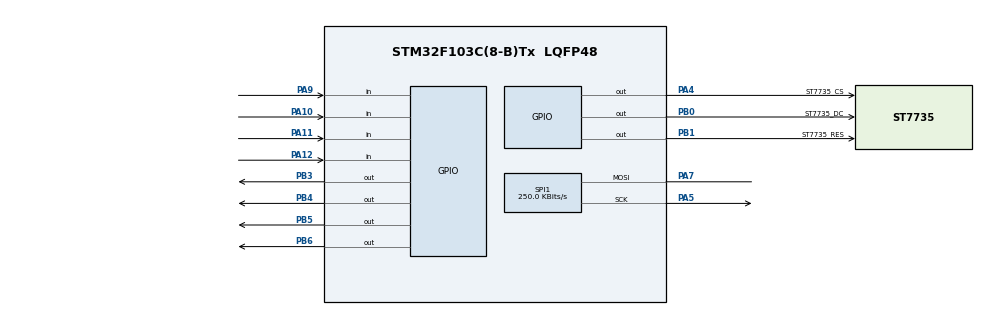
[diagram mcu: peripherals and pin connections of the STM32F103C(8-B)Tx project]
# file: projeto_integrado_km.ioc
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Mcu.Family=STM32F1
Mcu.Name=STM32F103C(8-B)Tx
Mcu.Package=LQFP48
NVIC.PriorityGroup=NVIC_PRIORITYGROUP_4
PA10.GPIO_PuPd=GPIO_PULLUP
PA10.Signal=GPIO_Input
PA11.GPIO_PuPd=GPIO_PULLUP
PA11.Signal=GPIO_Input
PA12.GPIO_PuPd=GPIO_PULLUP
PA12.Signal=GPIO_Input
PA13.Mode=Serial_Wire
PA13.Signal=SYS_JTMS-SWDIO
PA14.Mode=Serial_Wire
PA14.Signal=SYS_JTCK-SWCLK
PA4.GPIO_Label=ST7735_CS
PA4.Signal=GPIO_Output
PA5.Mode=Simplex_Bidirectional_Master
PA5.Signal=SPI1_SCK
PA7.Mode=Simplex_Bidirectional_Master
PA7.Signal=SPI1_MOSI
PA9.GPIO_PuPd=GPIO_PULLUP
PA9.Signal=GPIO_Input
PB0.GPIO_Label=ST7735_DC
PB0.Signal=GPIO_Output
PB1.GPIO_Label=ST7735_RES
PB1.Signal=GPIO_Output
PB3.Signal=GPIO_Output
PB4.Signal=GPIO_Output
PB5.Signal=GPIO_Output
PB6.Signal=GPIO_Output
ProjectManager.HeapSize=0x200
ProjectManager.StackSize=0x400
ProjectManager.TargetToolchain=STM32CubeIDE
RCC.APB1Freq_Value=8000000
RCC.APB2Freq_Value=8000000
SPI1.BaudRatePrescaler=SPI_BAUDRATEPRESCALER_32
SPI1.CalculateBaudRate=250.0 KBits/s
SPI1.Direction=SPI_DIRECTION_1LINE
SPI1.Mode=SPI_MODE_MASTER
SPI1.VirtualType=VM_MASTER
board=custom

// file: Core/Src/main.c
/* USER CODE BEGIN Header */
/**
 ******************************************************************************
 * @file           : main.c
 * @brief          : Main program body
 ******************************************************************************
 * @attention
 *
 * <h2><center>&copy; Copyright (c) 2024 STMicroelectronics.
 * All rights reserved.</center></h2>
 *
 * This software component is licensed by ST under BSD 3-Clause license,
 * the "License"; You may not use this file except in compliance with the
 * License. You may obtain a copy of the License at:
 *                        opensource.org/licenses/BSD-3-Clause
 *
 ******************************************************************************
 */
/* USER CODE END Header */
#include <stdint.h>
#include <stdio.h>
#include "main.h"

/* USER CODE BEGIN Includes */
#include "st7735\st7735.h"
/* USER CODE END Includes */

/* USER CODE BEGIN PD */
#define LIGA_LEDS HAL_GPIO_WritePin(GPIOB, GPIO_PIN_3 + GPIO_PIN_4 + GPIO_PIN_5 + GPIO_PIN_6, 1)
#define LE_BOTAO_CIMA HAL_GPIO_ReadPin(GPIOA, GPIO_PIN_12)
#define LE_BOTAO_DIREITO HAL_GPIO_ReadPin(GPIOA, GPIO_PIN_11)
#define LE_BOTAO_BAIXO HAL_GPIO_ReadPin(GPIOA, GPIO_PIN_10)
#define TAMANHO_TABULEIRO 3
#define JOGADOR1 'X'
#define JOGADOR2 'O'
#define VAZIO ' '
//#define INTERROGACAO '?'
/* USER CODE END PD */

SPI_HandleTypeDef hspi1;

/* USER CODE BEGIN PV */
static int tabuleiro[3][3];
int placar_jogador1 = 0;
int placar_jogador2 = 0;
int rodadas_jogador1 = 0;
int rodadas_jogador2 = 0;
static int cursor_coluna = 0;
static int cursor_linha = 0;
int jogador_atual = 1; // X É 1
static int posicao_atual = 0; // X É 1
//int x;
//int y;
//int n;
static int matriz_position = 0;

typedef struct {
	int x; // posicao display
	int y; // posicao display
	int jogador;
	int position; // posicao novetor
	char valor; // X, O, ?,...
} table_game_t;
table_game_t table_game[9];

void SystemClock_Config(void);
static void MX_GPIO_Init(void);
static void MX_SPI1_Init(void);

int main(void);
void mover(void);
void  Definir_local(int cursor_linha, int cursor_coluna, int jogadorAtual);
void inicializar_tabuleiro(void);
//void exibir_tabuleiro(void);
void efetuar_jogada(int cursor_linha, int cursor_coluna);
void alternar_jogador(void);
void jogar_partida();
void jogar_melhor_de_tres(void);
void ChamaHashtag(void);
int verificar_vencedor(void);
void desenha_pela_coordenada(int a, int b, int jogador);
void Error_Handler(void);
void desenha_matriz(void);
void tabuleirio_init (void);
int aloca_proxima_posicao(int);
int aloca_posicao_anterior(int);
int confirma_posicao(int posicao);
void exibe_vencedor(void);

int main(void)
{

	/* MCU Configuration--------------------------------------------------------*/

	/* Reset of all peripherals, Initializes the Flash interface and the Systick. */
	HAL_Init();

	/* Configure the system clock */
	SystemClock_Config();

	/* Initialize all configured peripherals */
	MX_GPIO_Init();
	MX_SPI1_Init();
	/* USER CODE BEGIN 2 */

	ST7735_Init();
	ST7735_FillScreen(BLACK);

	//////////////////////////////////////////////////////////// AQUI ////////////////////////////////////////////

	/*if ( HAL_GPIO_ReadPin(GPIOA, GPIO_PIN_9) ==0)
	{
		LIGA_LEDS;
	}*/

	/* USER CODE END 2 */

	/* Infinite loop */

	tabuleirio_init();

	/* USER CODE BEGIN WHILE */
	while (1)
	{
		// Preenchendo tabuleiro
		desenha_matriz();

		mover();

		//   jogar_partida();
		//  jogar_melhor_de_tres();

		/* USER CODE END WHILE */

	}
}

void SystemClock_Config(void)
{
	RCC_OscInitTypeDef RCC_OscInitStruct = {0};
	RCC_ClkInitTypeDef RCC_ClkInitStruct = {0};

	/** Initializes the RCC Oscillators according to the specified parameters
	 * in the RCC_OscInitTypeDef structure.
	 */
	RCC_OscInitStruct.OscillatorType = RCC_OSCILLATORTYPE_HSI;
	RCC_OscInitStruct.HSIState = RCC_HSI_ON;
	RCC_OscInitStruct.HSICalibrationValue = RCC_HSICALIBRATION_DEFAULT;
	RCC_OscInitStruct.PLL.PLLState = RCC_PLL_NONE;
	if (HAL_RCC_OscConfig(&RCC_OscInitStruct) != HAL_OK)
	{
		Error_Handler();
	}
	/** Initializes the CPU, AHB and APB buses clocks
	 */
	RCC_ClkInitStruct.ClockType = RCC_CLOCKTYPE_HCLK|RCC_CLOCKTYPE_SYSCLK
			|RCC_CLOCKTYPE_PCLK1|RCC_CLOCKTYPE_PCLK2;
	RCC_ClkInitStruct.SYSCLKSource = RCC_SYSCLKSOURCE_HSI;
	RCC_ClkInitStruct.AHBCLKDivider = RCC_SYSCLK_DIV1;
	RCC_ClkInitStruct.APB1CLKDivider = RCC_HCLK_DIV1;
	RCC_ClkInitStruct.APB2CLKDivider = RCC_HCLK_DIV1;

	if (HAL_RCC_ClockConfig(&RCC_ClkInitStruct, FLASH_LATENCY_0) != HAL_OK)
	{
		Error_Handler();
	}
}

static void MX_SPI1_Init(void)
{

	/* SPI1 parameter configuration*/
	hspi1.Instance = SPI1;
	hspi1.Init.Mode = SPI_MODE_MASTER;
	hspi1.Init.Direction = SPI_DIRECTION_1LINE;
	hspi1.Init.DataSize = SPI_DATASIZE_8BIT;
	hspi1.Init.CLKPolarity = SPI_POLARITY_LOW;
	hspi1.Init.CLKPhase = SPI_PHASE_1EDGE;
	hspi1.Init.NSS = SPI_NSS_SOFT;
	hspi1.Init.BaudRatePrescaler = SPI_BAUDRATEPRESCALER_32;
	hspi1.Init.FirstBit = SPI_FIRSTBIT_MSB;
	hspi1.Init.TIMode = SPI_TIMODE_DISABLE;
	hspi1.Init.CRCCalculation = SPI_CRCCALCULATION_DISABLE;
	hspi1.Init.CRCPolynomial = 10;
	if (HAL_SPI_Init(&hspi1) != HAL_OK)
	{
		Error_Handler();
	}

}

static void MX_GPIO_Init(void)
{
	GPIO_InitTypeDef GPIO_InitStruct = {0};

	/* GPIO Ports Clock Enable */
	__HAL_RCC_GPIOA_CLK_ENABLE();
	__HAL_RCC_GPIOB_CLK_ENABLE();

	/*Configure GPIO pin Output Level */
	HAL_GPIO_WritePin(ST7735_CS_GPIO_Port, ST7735_CS_Pin, GPIO_PIN_RESET);

	/*Configure GPIO pin Output Level */
	HAL_GPIO_WritePin(GPIOB, ST7735_DC_Pin|ST7735_RES_Pin|GPIO_PIN_3|GPIO_PIN_4
			|GPIO_PIN_5|GPIO_PIN_6, GPIO_PIN_RESET);

	/*Configure GPIO pin : ST7735_CS_Pin */
	GPIO_InitStruct.Pin = ST7735_CS_Pin;
	GPIO_InitStruct.Mode = GPIO_MODE_OUTPUT_PP;
	GPIO_InitStruct.Pull = GPIO_NOPULL;
	GPIO_InitStruct.Speed = GPIO_SPEED_FREQ_LOW;
	HAL_GPIO_Init(ST7735_CS_GPIO_Port, &GPIO_InitStruct);

	/*Configure GPIO pins : ST7735_DC_Pin ST7735_RES_Pin PB3 PB4
                           PB5 PB6 */
	GPIO_InitStruct.Pin = ST7735_DC_Pin|ST7735_RES_Pin|GPIO_PIN_3|GPIO_PIN_4
			|GPIO_PIN_5|GPIO_PIN_6;
	GPIO_InitStruct.Mode = GPIO_MODE_OUTPUT_PP;
	GPIO_InitStruct.Pull = GPIO_NOPULL;
	GPIO_InitStruct.Speed = GPIO_SPEED_FREQ_LOW;
	HAL_GPIO_Init(GPIOB, &GPIO_InitStruct);

	/*Configure GPIO pins : PA9 PA10 PA11 PA12 */
	GPIO_InitStruct.Pin = GPIO_PIN_9|GPIO_PIN_10|GPIO_PIN_11|GPIO_PIN_12;
	GPIO_InitStruct.Mode = GPIO_MODE_INPUT;
	GPIO_InitStruct.Pull = GPIO_PULLUP;
	HAL_GPIO_Init(GPIOA, &GPIO_InitStruct);

}

/* USER CODE BEGIN 4 */

void mover(void)
{
	static int posicao_tabuleiro = 0;

	if (LE_BOTAO_DIREITO == 0)
	{

		posicao_tabuleiro = aloca_proxima_posicao(posicao_tabuleiro);
		HAL_Delay(150);

		if(posicao_tabuleiro > 8){

			posicao_tabuleiro = 0;
		}

		return;

	}
	else if (LE_BOTAO_BAIXO == 0) // MOVE CURSOR PARA ESQUERDA
	{
		posicao_tabuleiro = aloca_posicao_anterior(posicao_tabuleiro);
		HAL_Delay(150);

		if(posicao_tabuleiro < 0){

			posicao_tabuleiro = 8;
		}

		return;

	}

	else if (LE_BOTAO_CIMA == 0)
	{
		posicao_tabuleiro = confirma_posicao(posicao_tabuleiro);
		HAL_Delay(150);
	}
}

int aloca_proxima_posicao(int proximo){

	int i;

	for(i = proximo; i < 9; i++){

		if(table_game[i].valor == ' ') {

			table_game[i].valor = '?';
			break;
		}
		else if(table_game[i].valor == '?') {

			table_game[i].valor = ' ';
			i++;
			if (i < 9){

				if(table_game[i].valor == ' '){ // se a proxima posição estiver vazia

					table_game[i].valor = '?';
				}
			}
			else {
				i = 0;
			}
			break;
		}
		else{ // aposição é X ou O
			//i++;

		}
	}

	return i;
}

int aloca_posicao_anterior(int anterior){

	int i;

	for(i = anterior; i > -1; i--){

		if(table_game[i].valor == ' ') {

			table_game[i].valor = '?';
			break;
		}
		else if(table_game[i].valor == '?') {

			table_game[i].valor = ' ';
			i--;
			if (i > -1){

				if(table_game[i].valor == ' '){ // se a proxima posição estiver vazia

					table_game[i].valor = '?';
				}
			}
			else {
				i = 8;
			}
			break;
		}
	}

	return i;
}

int confirma_posicao(int posicao){

	if((table_game[posicao].valor == ' ') || (table_game[posicao].valor == '?')){

		if(jogador_atual == 1){

			table_game[posicao].valor = 'X';
		}
		else {

			table_game[posicao].valor = 'O';
		}

		posicao++;

		if(posicao >= 9){
			posicao = 0;
		}

		if (verificar_vencedor() != 0){
			// se achou vencedor, exibe resultado
			exibe_vencedor();

			//somar partida

			//delay

			// reinicia tabuleiro
		}

		alternar_jogador();

	}

	return posicao;
}

/*void exibir_tabuleiro()
{
	//ST7735_WriteString(100,15,"PLACAR", Font_7x10, WHITE, BLACK);
	ST7735_WriteString(60,15,"Jogador 1:  \n",Font_7x10, WHITE, BLACK);
	ST7735_WriteString(60,15,"Jogador 2:  \n",Font_7x10, WHITE, BLACK);

	}*/

void tabuleirio_init (void){
	// Inicia tabuleiro
	for(int i = 0; i < 9; i++){

		table_game[i].jogador = 0;
		table_game[i].position = i;
		table_game[i].valor = ' ';

		if (table_game[i].position == 0)
		{
			table_game[i].x = 15; table_game[i].y = 2;

			table_game[i].valor = '?';
		}

		else if (table_game[i].position == 1)

		{
			table_game[i].x = 39  ; table_game[i].y = 2;
		}

		else if (table_game[i].position == 2 )

		{
			table_game[i].x = 67  ; table_game[i].y = 2;
		}

		else if (table_game[i].position == 3)

		{
			table_game[i].x = 15 ; table_game[i].y = 25;
		}
		else if (table_game[i].position == 4)

		{
			table_game[i].x = 39  ; table_game[i].y = 25;
		}

		else if (table_game[i].position == 5)
		{
			table_game[i].x = 67  ; table_game[i].y = 25;
		}

		else if (table_game[i].position == 6)
		{
			table_game[i].x = 15  ; table_game[i].y = 55;
		}

		else if (table_game[i].position == 7)
		{
			table_game[i].x = 39  ; table_game[i].y = 55;
		}

		else if (table_game[i].position == 8)
		{
			table_game[i].x = 67  ; table_game[i].y = 55;
		}
	}
}

void alternar_jogador()
{
	if (jogador_atual == 1)
	{
		jogador_atual = 2;
	}
	else
	{
		jogador_atual = 1;
	}
}

/*void jogar_partida()
{
	int jogadas = 0;
	while (1) {

		ST7735_WriteString(100,10,"Faça sua jogada.\n", Font_7x10, WHITE, BLACK);
		mover();
		efetuar_jogada( cursor_linha,  cursor_coluna);
		jogadas++;

		if (verificar_vencedor(n, jogador_atual) == 1)
		{
			if (jogador_atual == 1) {
				placar_jogador1++;
				rodadas_jogador1++;
				ST7735_WriteString(100,10,"Jogador X venceu esta rodada!", Font_7x10, WHITE, BLACK);
			} else {
				placar_jogador2++;
				rodadas_jogador2++;
				ST7735_WriteString(100,10,"Jogador O venceu esta rodada!", Font_7x10, WHITE, BLACK);
			}
			break;
		} else if (jogadas == 9)
		{
			ST7735_WriteString(100,10,"Empate!", Font_7x10, WHITE, BLACK);

			break;
		}

		alternar_jogador();
	}
}
*/
void jogar_melhor_de_tres()
{
	while (1) {
		jogar_partida();

		if (rodadas_jogador1 == 2) {
			ST7735_WriteString(100,10,"Jogador 1 venceu a partida!", Font_7x10, WHITE, BLACK);
			placar_jogador1 = 0;
			placar_jogador2 = 0;
			rodadas_jogador1 = 0;
			rodadas_jogador2 = 0;
			break;
		} else if (rodadas_jogador2 == 2) {
			ST7735_WriteString(100,10,"Jogador 2 venceu a partida!", Font_7x10, WHITE, BLACK);
			placar_jogador1 = 0;
			placar_jogador2 = 0;
			rodadas_jogador1 = 0;
			rodadas_jogador2 = 0;
			break;
		}
	}
}
void ChamaHashtag()
{

	ST7735_DrawLine(10, 50, 79, 50, WHITE);
	ST7735_DrawLine(10, 20, 79, 20, WHITE);
	ST7735_DrawLine(30, 70, 30, 5, BLUE);
	ST7735_DrawLine(60, 70, 60, 5, BLUE);
	HAL_Delay(0);
	ST7735_WriteString(100,15,"PLACAR", Font_7x10, WHITE, BLACK);
	ST7735_WriteString(100,30,"j-1: ", Font_7x10, WHITE, BLACK);
	ST7735_WriteString(100,60,"j-2: ", Font_7x10, WHITE, BLACK);

}

int verificar_vencedor(void)
{

	//if (table_game[0].valor == table_game[1].valor == table_game[2].valor) // verifica linha 1
	if ((table_game[0].valor == table_game[1].valor) && (table_game[0].valor == table_game[2].valor) &&
		(table_game[0].valor != ' ') && (table_game[0].valor != '?'))
	{
		return jogador_atual;
	}
	//else if (table_game[3].valor == table_game[4].valor == table_game[5].valor) // verifica linha 2
	else if ((table_game[3].valor == table_game[4].valor) && (table_game[3].valor == table_game[5].valor)&&
			(table_game[3].valor != ' ') && (table_game[3].valor != '?'))
	{
		return jogador_atual;
	}
	//else if (table_game[6].valor == table_game[7].valor == table_game[8].valor) // verifica linha 3
	else if ((table_game[6].valor == table_game[7].valor) && (table_game[6].valor == table_game[8].valor)&&
			(table_game[6].valor != ' ') && (table_game[6].valor != '?'))
	{
		return jogador_atual;
	}
	//else if (table_game[0].valor == table_game[3].valor == table_game[6].valor) // verifica coluna 1
	else if ((table_game[0].valor == table_game[3].valor) && (table_game[0].valor == table_game[6].valor)&&
			(table_game[0].valor != ' ') && (table_game[0].valor != '?'))
	{
		return jogador_atual;
	}
	//else if (table_game[1].valor == table_game[4].valor == table_game[7].valor) // verifica coluna 2
	else if ((table_game[1].valor == table_game[4].valor) && (table_game[1].valor == table_game[7].valor)&&
			(table_game[1].valor != ' ') && (table_game[1].valor != '?'))
	{
		return jogador_atual;
	}
	//else if (table_game[2].valor == table_game[5].valor == table_game[8].valor) // verifica coluna 3
	else if ((table_game[2].valor == table_game[5].valor) && (table_game[2].valor == table_game[8].valor)&&
			(table_game[2].valor != ' ') && (table_game[2].valor != '?'))
	{
		return jogador_atual;
	}
	//else if (table_game[0].valor == table_game[4].valor == table_game[8].valor) // verifica diagonal para direita
	else if ((table_game[0].valor == table_game[4].valor) && (table_game[0].valor == table_game[8].valor)&&
			(table_game[0].valor != ' ') && (table_game[0].valor != '?'))
	{
		return jogador_atual;
	}
	//else if (table_game[2].valor == table_game[4].valor == table_game[6].valor) // verifica diagonal para esquerda
	else if ((table_game[2].valor == table_game[4].valor) && (table_game[2].valor == table_game[6].valor)&&
			(table_game[2].valor != ' ') && (table_game[2].valor != '?'))
	{
		return jogador_atual;
	}

	return 0;
}

void exibe_vencedor(void){

	desenha_matriz();

	ST7735_DrawLine(10, 50, 79, 50, WHITE);
	ST7735_DrawLine(10, 20, 79, 20, WHITE);
	ST7735_DrawLine(30, 70, 30, 5, BLUE);
	ST7735_DrawLine(60, 70, 60, 5, BLUE);

	ST7735_WriteString(100,15,"      ", Font_7x10, WHITE, BLACK);
	ST7735_WriteString(100,30,"      ", Font_7x10, WHITE, BLACK);
	ST7735_WriteString(100,60,"      ", Font_7x10, WHITE, BLACK);

	HAL_Delay(0);

	if(jogador_atual == 1){
		ST7735_WriteString(100,15,"X WIN", Font_7x10, GREEN, BLACK);
	} else
	{
		ST7735_WriteString(100,15,"O WIN", Font_7x10, GREEN, BLACK);
	}

	HAL_Delay(3000);

}

void desenha_matriz(){

	ChamaHashtag();

	for (int i = 0; i < 9; i++)
	{
		ST7735_WriteString(table_game[i].x, table_game[i].y,&table_game[i].valor, Font_11x18, WHITE, BLACK); // & no terceiro argumento estou passando o endereço da variavel como pede na função ST7735_WriteString
	}

}

/* USER CODE END 4 */

void Error_Handler(void)
{
	__disable_irq();
	while (1)
	{
	}
}

/************************ (C) COPYRIGHT STMicroelectronics *****END OF FILE****/
